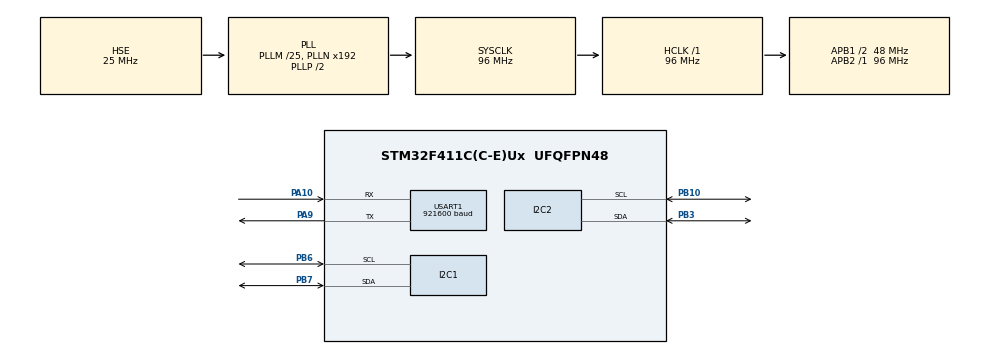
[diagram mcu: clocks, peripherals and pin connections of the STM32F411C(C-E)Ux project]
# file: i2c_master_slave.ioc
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I2C1.I2C_Mode=I2C_Fast
I2C2.I2C_Mode=I2C_Fast
I2C2.OwnAddress=I2C_SLAVE_ADDR
Mcu.Family=STM32F4
Mcu.Name=STM32F411C(C-E)Ux
Mcu.Package=UFQFPN48
Mcu.UserConstants=I2C_SLAVE_ADDR,20
NVIC.I2C2_ER_IRQn=true\:0\:0\:false\:false\:true\:true\:true\:true
NVIC.I2C2_EV_IRQn=true\:0\:0\:false\:false\:true\:true\:true\:true
NVIC.PriorityGroup=NVIC_PRIORITYGROUP_4
PA10.Mode=Asynchronous
PA10.Signal=USART1_RX
PA13.Mode=Serial_Wire
PA13.Signal=SYS_JTMS-SWDIO
PA14.Mode=Serial_Wire
PA14.Signal=SYS_JTCK-SWCLK
PA9.Mode=Asynchronous
PA9.Signal=USART1_TX
PB10.GPIO_Pu=GPIO_PULLUP
PB10.Mode=I2C
PB10.Signal=I2C2_SCL
PB3.GPIO_Pu=GPIO_PULLUP
PB3.Mode=I2C
PB3.Signal=I2C2_SDA
PB6.GPIO_Pu=GPIO_PULLUP
PB6.Mode=I2C
PB6.Signal=I2C1_SCL
PB7.GPIO_Pu=GPIO_PULLUP
PB7.Mode=I2C
PB7.Signal=I2C1_SDA
PH0\ -\ OSC_IN.Mode=HSE-External-Oscillator
PH0\ -\ OSC_IN.Signal=RCC_OSC_IN
PH1\ -\ OSC_OUT.Mode=HSE-External-Oscillator
PH1\ -\ OSC_OUT.Signal=RCC_OSC_OUT
ProjectManager.HeapSize=0x200
ProjectManager.StackSize=0x400
ProjectManager.TargetToolchain=STM32CubeIDE
RCC.48MHZClocksFreq_Value=48000000
RCC.AHBFreq_Value=96000000
RCC.APB1CLKDivider=RCC_HCLK_DIV2
RCC.APB1Freq_Value=48000000
RCC.APB1TimFreq_Value=96000000
RCC.APB2Freq_Value=96000000
RCC.APB2TimFreq_Value=96000000
RCC.CortexFreq_Value=96000000
RCC.HCLKFreq_Value=96000000
RCC.HSE_VALUE=25000000
RCC.HSI_VALUE=16000000
RCC.LSE_VALUE=32768
RCC.PLLM=25
RCC.PLLSourceVirtual=RCC_PLLSOURCE_HSE
RCC.SYSCLKFreq_VALUE=96000000
RCC.SYSCLKSource=RCC_SYSCLKSOURCE_PLLCLK
RCC.VCOOutputFreq_Value=192000000
USART1.BaudRate=921600
USART1.VirtualMode=VM_ASYNC
board=custom

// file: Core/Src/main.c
/* USER CODE BEGIN Header */
/**
  ******************************************************************************
  * @file           : main.c
  * @brief          : Main program body
  ******************************************************************************
  * @attention
  *
  * <h2><center>&copy; Copyright (c) 2021 STMicroelectronics.
  * All rights reserved.</center></h2>
  *
  * This software component is licensed by ST under BSD 3-Clause license,
  * the "License"; You may not use this file except in compliance with the
  * License. You may obtain a copy of the License at:
  *                        opensource.org/licenses/BSD-3-Clause
  *
  ******************************************************************************
  */
/* USER CODE END Header */
#include "main.h"

/* USER CODE BEGIN PD */
#define I2C_REGISTER_FINGERPRINT 0x00
#define I2C_REGISTER_ID 0x01
/* USER CODE END PD */

I2C_HandleTypeDef hi2c1;
I2C_HandleTypeDef hi2c2;

UART_HandleTypeDef huart1;

/* USER CODE BEGIN PV */
// emulated I2C RAM
static uint8_t i2c_buffer[256];
static uint16_t i2c_address = 0; 	// current i2c register address
static uint16_t i2c_byte = 0;	// first byte --> new offset
static uint8_t rx, tx;
/* USER CODE END PV */

void SystemClock_Config(void);
static void MX_GPIO_Init(void);
static void MX_I2C1_Init(void);
static void MX_I2C2_Init(void);
static void MX_USART1_UART_Init(void);

/* USER CODE BEGIN 0 */

// Send printf to uart1
int _write(int fd, char* ptr, int len) {
  HAL_StatusTypeDef hstatus;

  if (fd == 1 || fd == 2) {
    hstatus = HAL_UART_Transmit(&huart1, (uint8_t *) ptr, len, HAL_MAX_DELAY);
    if (hstatus == HAL_OK)
      return len;
    else
      return -1;
  }
  return -1;
}

void HAL_I2C_ListenCpltCallback(I2C_HandleTypeDef *hi2c)
{
	DBG("LCB");
	i2c_byte = 0;
	HAL_I2C_EnableListen_IT(hi2c); // slave is ready again
}

void HAL_I2C_AddrCallback(I2C_HandleTypeDef *hi2c, uint8_t TransferDirection, uint16_t AddrMatchCode)
{
	DBG("ACB %s", TransferDirection==I2C_DIRECTION_RECEIVE ? "rx" : "tx" );

	if( TransferDirection==I2C_DIRECTION_TRANSMIT ) {
		if( i2c_byte == 0 ) {
			HAL_I2C_Slave_Seq_Receive_IT(hi2c, &i2c_address, 2, I2C_NEXT_FRAME);
		} else {
			HAL_I2C_Slave_Seq_Receive_IT(hi2c, &rx, 1, I2C_NEXT_FRAME);
		}
	} else {
		HAL_I2C_Slave_Seq_Transmit_IT(hi2c, &tx, 1, I2C_NEXT_FRAME);
	}

}

void HAL_I2C_SlaveRxCpltCallback(I2C_HandleTypeDef *hi2c)
{

	if(i2c_byte == 0) {
		DBG("RXCB: address <== 0x%4x", i2c_address );
		first = 2;
	} else {
		DBG("RXCB: ram[%3d] <== %3d", offset,  ram[offset] );
		offset++;
	}
	HAL_I2C_Slave_Seq_Receive_IT(hi2c, &ram[offset], 1, I2C_NEXT_FRAME);
}

void HAL_I2C_SlaveTxCpltCallback(I2C_HandleTypeDef *hi2c)
{
	DBG("TXCB: ram[%3d] ==> %3d", offset, ram[offset] );
	offset++;
	HAL_I2C_Slave_Seq_Transmit_IT(hi2c, &ram[offset], 1, I2C_NEXT_FRAME);
}

void HAL_I2C_ErrorCallback(I2C_HandleTypeDef *hi2c)
{
	if( HAL_I2C_GetError(hi2c)==HAL_I2C_ERROR_AF ) {
		// transaction terminated by master
		DBG("ECB end" );
		offset--;
	} else {
		DBG("ECB err=0x%02lx", HAL_I2C_GetError(hi2c) );
	}
}

void HAL_I2C_AbortCpltCallback(I2C_HandleTypeDef *hi2c)
{
	DBG("aborted" );  // never seen...
}

/* USER CODE END 0 */

int main(void)
{

  /* MCU Configuration--------------------------------------------------------*/

  /* Reset of all peripherals, Initializes the Flash interface and the Systick. */
  HAL_Init();

  /* Configure the system clock */
  SystemClock_Config();

  /* Initialize all configured peripherals */
  MX_GPIO_Init();
  MX_I2C1_Init();
  MX_I2C2_Init();
  MX_USART1_UART_Init();
  /* USER CODE BEGIN 2 */

  DBG("\n\n\nStarting up");

  HAL_I2C_EnableListen_IT( &hi2c2 ); // slave is ready

  /* USER CODE END 2 */

  /* Infinite loop */
  /* USER CODE BEGIN WHILE */
  while (1)
  {

	  static uint8_t tx_data[20];
	  static uint8_t rx_data[20];

	  tx_data[0] = 20;
	  tx_data[1] = 10;

	  HAL_I2C_Master_Transmit(&hi2c1, I2C_SLAVE_ADDR << 1, tx_data, 2, HAL_MAX_DELAY);

	  HAL_I2C_Master_Receive(&hi2c1, I2C_SLAVE_ADDR << 1, rx_data, 2, HAL_MAX_DELAY);

	  DBG("HAL_I2C_Mem_Write( &hi2c1, I2C_SLAVE_ADDR << 1, 1, I2C_MEMADD_SIZE_8BIT, \"AB\", 2, HAL_MAX_DELAY );" );
	  HAL_I2C_Mem_Write( &hi2c1, I2C_SLAVE_ADDR << 1, 1, I2C_MEMADD_SIZE_8BIT, "AB", 2, HAL_MAX_DELAY );

	  DBG("HAL_I2C_Mem_Read( &hi2c1, I2C_SLAVE_ADDR << 1, 2, I2C_MEMADD_SIZE_8BIT, rx_data, 1, HAL_MAX_DELAY );");
	  HAL_I2C_Mem_Read( &hi2c1, I2C_SLAVE_ADDR << 1, 2, I2C_MEMADD_SIZE_8BIT, rx_data, 1, HAL_MAX_DELAY );

	  DBG("HAL_I2C_Mem_Write( &hi2c1, I2C_SLAVE_ADDR, 5, I2C_MEMADD_SIZE_8BIT, \"0123456789\", 10, HAL_MAX_DELAY );");
	  HAL_I2C_Mem_Write( &hi2c1, I2C_SLAVE_ADDR << 1, 5, I2C_MEMADD_SIZE_8BIT, "0123456789", 10, HAL_MAX_DELAY );

	  DBG("HAL_I2C_Mem_Read( &hi2c1, I2C_SLAVE_ADDR, 5, I2C_MEMADD_SIZE_8BIT, rx_data, 5, HAL_MAX_DELAY );");
	  HAL_I2C_Mem_Read( &hi2c1, I2C_SLAVE_ADDR << 1, 5, I2C_MEMADD_SIZE_8BIT, rx_data, 5, HAL_MAX_DELAY );

	  DBG("HAL_I2C_Master_Receive( &hi2c1, I2C_SLAVE_ADDR, rx_data, 5, HAL_MAX_DELAY );");
	  HAL_I2C_Master_Receive( &hi2c1, I2C_SLAVE_ADDR << 1, rx_data, 5, HAL_MAX_DELAY );
	  HAL_Delay(10000);

    /* USER CODE END WHILE */

  }
}

void SystemClock_Config(void)
{
  RCC_OscInitTypeDef RCC_OscInitStruct = {0};
  RCC_ClkInitTypeDef RCC_ClkInitStruct = {0};

  /** Configure the main internal regulator output voltage
  */
  __HAL_RCC_PWR_CLK_ENABLE();
  __HAL_PWR_VOLTAGESCALING_CONFIG(PWR_REGULATOR_VOLTAGE_SCALE1);
  /** Initializes the RCC Oscillators according to the specified parameters
  * in the RCC_OscInitTypeDef structure.
  */
  RCC_OscInitStruct.OscillatorType = RCC_OSCILLATORTYPE_HSE;
  RCC_OscInitStruct.HSEState = RCC_HSE_ON;
  RCC_OscInitStruct.PLL.PLLState = RCC_PLL_ON;
  RCC_OscInitStruct.PLL.PLLSource = RCC_PLLSOURCE_HSE;
  RCC_OscInitStruct.PLL.PLLM = 25;
  RCC_OscInitStruct.PLL.PLLN = 192;
  RCC_OscInitStruct.PLL.PLLP = RCC_PLLP_DIV2;
  RCC_OscInitStruct.PLL.PLLQ = 4;
  if (HAL_RCC_OscConfig(&RCC_OscInitStruct) != HAL_OK)
  {
    Error_Handler();
  }
  /** Initializes the CPU, AHB and APB buses clocks
  */
  RCC_ClkInitStruct.ClockType = RCC_CLOCKTYPE_HCLK|RCC_CLOCKTYPE_SYSCLK
                              |RCC_CLOCKTYPE_PCLK1|RCC_CLOCKTYPE_PCLK2;
  RCC_ClkInitStruct.SYSCLKSource = RCC_SYSCLKSOURCE_PLLCLK;
  RCC_ClkInitStruct.AHBCLKDivider = RCC_SYSCLK_DIV1;
  RCC_ClkInitStruct.APB1CLKDivider = RCC_HCLK_DIV2;
  RCC_ClkInitStruct.APB2CLKDivider = RCC_HCLK_DIV1;

  if (HAL_RCC_ClockConfig(&RCC_ClkInitStruct, FLASH_LATENCY_3) != HAL_OK)
  {
    Error_Handler();
  }
}

static void MX_I2C1_Init(void)
{

  hi2c1.Instance = I2C1;
  hi2c1.Init.ClockSpeed = 400000;
  hi2c1.Init.DutyCycle = I2C_DUTYCYCLE_2;
  hi2c1.Init.OwnAddress1 = 0;
  hi2c1.Init.AddressingMode = I2C_ADDRESSINGMODE_7BIT;
  hi2c1.Init.DualAddressMode = I2C_DUALADDRESS_DISABLE;
  hi2c1.Init.OwnAddress2 = 0;
  hi2c1.Init.GeneralCallMode = I2C_GENERALCALL_DISABLE;
  hi2c1.Init.NoStretchMode = I2C_NOSTRETCH_DISABLE;
  if (HAL_I2C_Init(&hi2c1) != HAL_OK)
  {
    Error_Handler();
  }

}

static void MX_I2C2_Init(void)
{

  hi2c2.Instance = I2C2;
  hi2c2.Init.ClockSpeed = 400000;
  hi2c2.Init.DutyCycle = I2C_DUTYCYCLE_2;
  hi2c2.Init.OwnAddress1 = 40;
  hi2c2.Init.AddressingMode = I2C_ADDRESSINGMODE_7BIT;
  hi2c2.Init.DualAddressMode = I2C_DUALADDRESS_DISABLE;
  hi2c2.Init.OwnAddress2 = 0;
  hi2c2.Init.GeneralCallMode = I2C_GENERALCALL_DISABLE;
  hi2c2.Init.NoStretchMode = I2C_NOSTRETCH_DISABLE;
  if (HAL_I2C_Init(&hi2c2) != HAL_OK)
  {
    Error_Handler();
  }

}

static void MX_USART1_UART_Init(void)
{

  huart1.Instance = USART1;
  huart1.Init.BaudRate = 921600;
  huart1.Init.WordLength = UART_WORDLENGTH_8B;
  huart1.Init.StopBits = UART_STOPBITS_1;
  huart1.Init.Parity = UART_PARITY_NONE;
  huart1.Init.Mode = UART_MODE_TX_RX;
  huart1.Init.HwFlowCtl = UART_HWCONTROL_NONE;
  huart1.Init.OverSampling = UART_OVERSAMPLING_16;
  if (HAL_UART_Init(&huart1) != HAL_OK)
  {
    Error_Handler();
  }

}

static void MX_GPIO_Init(void)
{

  /* GPIO Ports Clock Enable */
  __HAL_RCC_GPIOH_CLK_ENABLE();
  __HAL_RCC_GPIOB_CLK_ENABLE();
  __HAL_RCC_GPIOA_CLK_ENABLE();

}

void Error_Handler(void)
{
  __disable_irq();
  while (1)
  {
  }
}

/************************ (C) COPYRIGHT STMicroelectronics *****END OF FILE****/
